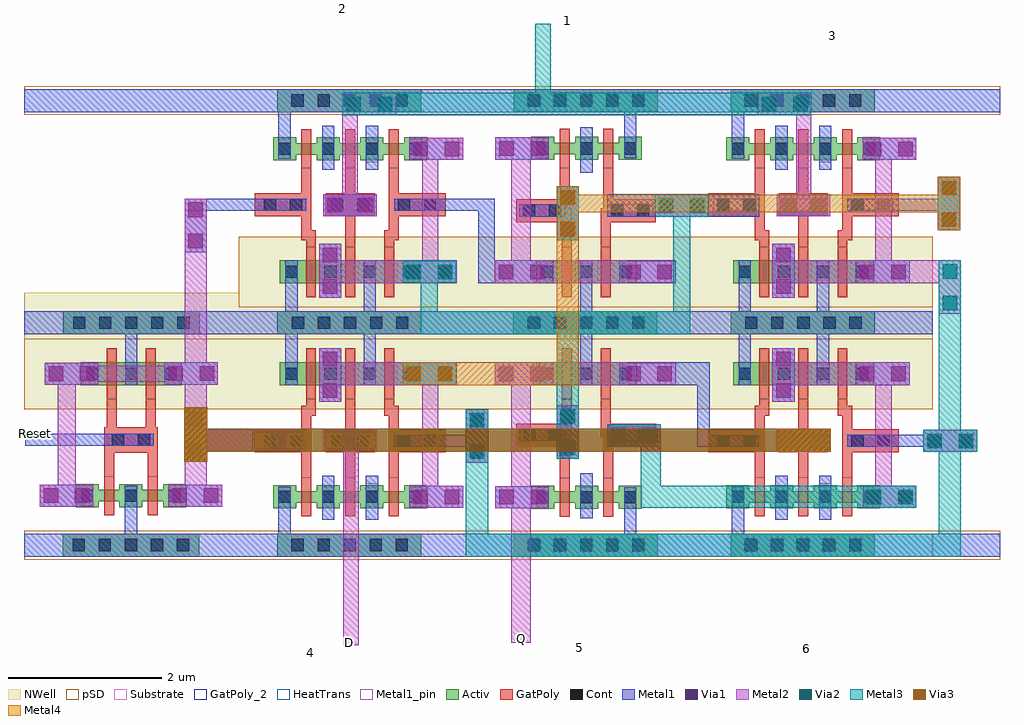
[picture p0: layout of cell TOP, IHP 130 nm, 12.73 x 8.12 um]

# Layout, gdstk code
from math import pi, radians
import gdstk
lib = gdstk.Library(unit=1e-6, precision=1e-09)
def R(c, l, rs):  # rectangles x0, y0, x1, y1
    for r in rs: c.add(gdstk.rectangle(r[:2], r[2:], *l))
def A(c, l, x, y, w, h, nx, ny, dx, dy):  # array of equal rectangles
    R(c, l, [(x+i*dx, y+j*dy, x+i*dx+w, y+j*dy+h) for i in range(nx) for j in range(ny)])
def P(c, l, *ps):  # polygons
    for p in ps: c.add(gdstk.Polygon(p, *l))
Activ = (1, 0)
GatPoly = (5, 0)
GatPoly_2 = (5, 2)
Cont = (6, 0)
Metal1 = (8, 0)
Metal1_pin = (8, 2)
Metal2 = (10, 0)
pSD = (14, 0)
Via1 = (19, 0)
Via2 = (29, 0)
Metal3 = (30, 0)
NWell = (31, 0)
Substrate = (40, 0)
Via3 = (49, 0)
Metal4 = (50, 0)
HeatTrans = (51, 0)

via_stack = lib.new_cell('via_stack')
R(via_stack, Metal1, [(-0.35,-0.145,0.35,0.145)])
R(via_stack, Metal2, [(-0.35,-0.145,0.35,0.145)])
R(via_stack, Via1, [(-0.3,-0.095,-0.11,0.095), (0.11,-0.095,0.3,0.095)])

nmos = lib.new_cell('nmos')
R(nmos, Activ, [(0,0,0.3,0.3), (0.57,0,0.87,0.3), (0,0.075,0.87,0.225)])
R(nmos, GatPoly, [(0.37,-0.105,0.5,0.405)])
R(nmos, GatPoly_2, [(0.37,-0.105,0.5,0.405)])
R(nmos, Cont, [(0.07,0.07,0.23,0.23), (0.64,0.07,0.8,0.23)])
R(nmos, Metal1, [(0.07,0.02,0.23,0.28), (0.64,0.02,0.8,0.28)])
R(nmos, Metal1_pin, [(0.07,0.02,0.23,0.28), (0.64,0.02,0.8,0.28)])
R(nmos, HeatTrans, [(0.37,-0.105,0.5,0.405)])
nmos.add(gdstk.Label('nmos', (0.435,0.15), layer=63, texttype=0))
nmos.add(gdstk.Label('nmos', (0.435,0.15), layer=51, texttype=0))

pmos = lib.new_cell('pmos')
R(pmos, Activ, [(0,0,0.3,0.3), (0,0,0.81,0.3), (0.51,0,0.81,0.3)])
R(pmos, GatPoly, [(0.34,-0.18,0.47,0.48), (0.34,-0.18,0.47,0.48)])
R(pmos, Cont, [(0.07,0.07,0.23,0.23), (0.58,0.07,0.74,0.23)])
R(pmos, Metal1, [(0.07,0,0.23,0.3), (0.07,0,0.23,0.3), (0.58,0,0.74,0.3), (0.58,0,0.74,0.3)])
R(pmos, pSD, [(-0.18,-0.3,0.99,0.6)])
R(pmos, NWell, [(-0.31,-0.31,1.12,0.61)])
R(pmos, Substrate, [(0.51,0,0.81,0.3)])
R(pmos, HeatTrans, [(0.34,-0.18,0.47,0.48)])
pmos.add(gdstk.Label('pmos', (0.405,0.15), layer=63, texttype=0))
pmos.add(gdstk.Label('pmos', (0.405,0.15), layer=51, texttype=0))

via_stack_4 = lib.new_cell('via_stack$4')
R(via_stack_4, Metal1, [(-0.35,-0.145,0.35,0.145)])
R(via_stack_4, Metal2, [(-0.35,-0.145,0.35,0.145)])
R(via_stack_4, Via1, [(-0.3,-0.095,-0.11,0.095), (0.11,-0.095,0.3,0.095)])
R(via_stack_4, Via2, [(-0.3,-0.095,-0.11,0.095), (0.11,-0.095,0.3,0.095)])
R(via_stack_4, Metal3, [(-0.35,-0.145,0.35,0.145)])
R(via_stack_4, Via3, [(-0.3,-0.095,-0.11,0.095), (0.11,-0.095,0.3,0.095)])
R(via_stack_4, Metal4, [(-0.35,-0.145,0.35,0.145)])

pmos_1 = lib.new_cell('pmos$1')
A(pmos_1, Activ, 0, 0, 0.3, 0.3, 3, 1, 0.51, 0)
R(pmos_1, Activ, [(0,0,1.32,0.3)])
R(pmos_1, GatPoly, [(0.34,-0.18,0.47,0.48), (0.34,-0.18,0.47,0.48), (0.85,-0.18,0.98,0.48)])
A(pmos_1, Cont, 0.07, 0.07, 0.16, 0.16, 3, 1, 0.51, 0)
R(pmos_1, Metal1, [(0.07,0,0.23,0.3), (0.07,0,0.23,0.3), (0.58,0,0.74,0.3), (0.58,0,0.74,0.3), (1.09,0,1.25,0.3)])
R(pmos_1, pSD, [(-0.18,-0.3,1.5,0.6)])
R(pmos_1, NWell, [(-0.31,-0.31,1.63,0.61)])
R(pmos_1, Substrate, [(1.02,0,1.32,0.3)])
R(pmos_1, HeatTrans, [(0.34,-0.18,0.47,0.48), (0.85,-0.18,0.98,0.48)])
pmos_1.add(gdstk.Label('pmos', (0.405,0.15), layer=63, texttype=0))
pmos_1.add(gdstk.Label('pmos', (0.405,0.15), layer=51, texttype=0))
pmos_1.add(gdstk.Label('pmos', (0.915,0.15), layer=51, texttype=0))

nmos_1 = lib.new_cell('nmos$1')
A(nmos_1, Activ, 0, 0, 0.3, 0.3, 3, 1, 0.57, 0)
R(nmos_1, Activ, [(0,0.075,1.44,0.225)])
R(nmos_1, GatPoly, [(0.37,-0.105,0.5,0.405), (0.94,-0.105,1.07,0.405)])
R(nmos_1, GatPoly_2, [(0.37,-0.105,0.5,0.405)])
A(nmos_1, Cont, 0.07, 0.07, 0.16, 0.16, 3, 1, 0.57, 0)
A(nmos_1, Metal1, 0.07, 0.02, 0.16, 0.26, 3, 1, 0.57, 0)
R(nmos_1, Metal1_pin, [(0.07,0.02,0.23,0.28), (0.64,0.02,0.8,0.28)])
R(nmos_1, HeatTrans, [(0.37,-0.105,0.5,0.405), (0.94,-0.105,1.07,0.405)])
nmos_1.add(gdstk.Label('nmos', (0.435,0.15), layer=63, texttype=0))
nmos_1.add(gdstk.Label('nmos', (0.435,0.15), layer=51, texttype=0))
nmos_1.add(gdstk.Label('nmos', (1.005,0.15), layer=51, texttype=0))

via_stack_2 = lib.new_cell('via_stack$2')
R(via_stack_2, Metal1, [(-0.35,-0.145,0.35,0.145)])
R(via_stack_2, Metal2, [(-0.35,-0.145,0.35,0.145)])
R(via_stack_2, Via1, [(-0.3,-0.095,-0.11,0.095), (0.11,-0.095,0.3,0.095)])
R(via_stack_2, Via2, [(-0.3,-0.095,-0.11,0.095), (0.11,-0.095,0.3,0.095)])
R(via_stack_2, Metal3, [(-0.35,-0.145,0.35,0.145)])

via_stack_5 = lib.new_cell('via_stack$5')
R(via_stack_5, Metal2, [(-0.35,-0.145,0.35,0.145)])
R(via_stack_5, Via2, [(-0.3,-0.095,-0.11,0.095), (0.11,-0.095,0.3,0.095)])
R(via_stack_5, Metal3, [(-0.35,-0.145,0.35,0.145)])
R(via_stack_5, Via3, [(-0.3,-0.095,-0.11,0.095), (0.11,-0.095,0.3,0.095)])
R(via_stack_5, Metal4, [(-0.35,-0.145,0.35,0.145)])

via_stack_1 = lib.new_cell('via_stack$1')
R(via_stack_1, Metal2, [(-0.35,-0.145,0.35,0.145)])
R(via_stack_1, Via2, [(-0.3,-0.095,-0.11,0.095), (0.11,-0.095,0.3,0.095)])
R(via_stack_1, Metal3, [(-0.35,-0.145,0.35,0.145)])

via_stack_3 = lib.new_cell('via_stack$3')

top = lib.new_cell('TOP')
R(top, Activ, [(-8.935,1.16,-7.155,1.46), (-6.135,1.16,-4.255,1.46), (-3.05,1.16,-1.17,1.46), (-0.22,1.16,1.66,1.46), (-8.93,4.06,-7.15,4.36), (-6.135,4.06,-4.255,4.36), (-6.135,4.06,-4.255,4.36), (-3.055,4.06,-1.175,4.36), (-3.055,4.06,-1.175,4.36), (-0.22,4.06,1.66,4.36), (-0.22,4.06,1.66,4.36), (-6.135,6.96,-4.255,7.26), (-3.05,6.96,-1.17,7.26), (-0.22,6.96,1.66,7.26)])
P(top, GatPoly, [(0.665,2.195),(0.665,2.52),(0.41,2.52),(0.41,2.82),(0.485,2.82),(0.665,2.82),(0.665,3.215),(0.795,3.215),(0.795,2.82),(1.05,2.82),(1.05,2.52),(0.795,2.52),(0.795,2.195)],
  [(-5.25,2.195),(-5.25,2.52),(-5.505,2.52),(-5.505,2.82),(-5.25,2.82),(-5.25,3.215),(-5.12,3.215),(-5.12,2.82),(-4.865,2.82),(-4.865,2.52),(-5.12,2.52),(-5.12,2.195)],
  [(-5.82,2.195),(-5.82,2.52),(-6.43,2.52),(-6.43,2.82),(-5.82,2.82),(-5.82,3.13),(-5.76,3.13),(-5.76,3.215),(-5.63,3.215),(-5.63,3),(-5.69,3),(-5.69,2.195)],
  [(-4.68,2.195),(-4.68,3),(-4.74,3),(-4.74,3.215),(-4.61,3.215),(-4.61,3.13),(-4.55,3.13),(-4.55,2.82),(-3.94,2.82),(-3.94,2.52),(-4.55,2.52),(-4.55,2.195)],
  [(0.095,2.195),(0.095,2.52),(-0.515,2.52),(-0.515,2.82),(0.095,2.82),(0.095,3.13),(0.155,3.13),(0.155,3.215),(0.285,3.215),(0.285,3),(0.225,3),(0.225,2.195)],
  [(1.235,2.195),(1.235,3),(1.175,3),(1.175,3.215),(1.305,3.215),(1.305,3.13),(1.365,3.13),(1.365,2.82),(1.975,2.82),(1.975,2.52),(1.365,2.52),(1.365,2.195)],
  [(-2.45,2.19),(-2.45,2.595),(-3.015,2.595),(-3.015,2.895),(-2.425,2.895),(-2.425,3.215),(-2.295,3.215),(-2.295,2.715),(-2.32,2.715),(-2.32,2.19)],
  [(-1.88,2.19),(-1.88,2.355),(-1.88,2.715),(-1.915,2.715),(-1.915,3.215),(-1.785,3.215),(-1.785,2.895),(-1.195,2.895),(-1.195,2.595),(-1.75,2.595),(-1.75,2.355),(-1.75,2.19)],
  [(-2.425,5.205),(-2.425,5.525),(-3.015,5.525),(-3.015,5.825),(-2.45,5.825),(-2.45,6.23),(-2.32,6.23),(-2.32,5.705),(-2.295,5.705),(-2.295,5.205)],
  [(-1.915,5.205),(-1.915,5.705),(-1.88,5.705),(-1.88,6.065),(-1.88,6.23),(-1.75,6.23),(-1.75,6.065),(-1.75,5.825),(-1.195,5.825),(-1.195,5.525),(-1.785,5.525),(-1.785,5.205)],
  [(-4.74,5.205),(-4.74,5.42),(-4.68,5.42),(-4.68,6.225),(-4.55,6.225),(-4.55,5.9),(-3.94,5.9),(-3.94,5.6),(-4.55,5.6),(-4.55,5.29),(-4.61,5.29),(-4.61,5.205)],
  [(-5.76,5.205),(-5.76,5.29),(-5.82,5.29),(-5.82,5.6),(-6.43,5.6),(-6.43,5.9),(-5.82,5.9),(-5.82,6.225),(-5.69,6.225),(-5.69,5.42),(-5.63,5.42),(-5.63,5.205)],
  [(-5.25,5.205),(-5.25,5.6),(-5.505,5.6),(-5.505,5.9),(-5.25,5.9),(-5.25,6.225),(-5.12,6.225),(-5.12,5.9),(-4.865,5.9),(-4.865,5.6),(-5.12,5.6),(-5.12,5.205)],
  [(1.175,5.205),(1.175,5.42),(1.235,5.42),(1.235,6.225),(1.365,6.225),(1.365,5.9),(1.975,5.9),(1.975,5.6),(1.365,5.6),(1.365,5.29),(1.305,5.29),(1.305,5.205)],
  [(0.155,5.205),(0.155,5.29),(0.095,5.29),(0.095,5.6),(-0.515,5.6),(-0.515,5.9),(0.095,5.9),(0.095,6.225),(0.225,6.225),(0.225,5.42),(0.285,5.42),(0.285,5.205)],
  [(0.665,5.205),(0.665,5.6),(0.41,5.6),(0.41,5.9),(0.665,5.9),(0.665,6.225),(0.795,6.225),(0.795,5.9),(1.05,5.9),(1.05,5.6),(0.795,5.6),(0.795,5.205)],
  [(-8.395,2.21),(-8.395,2.85),(-8.36,2.85),(-8.36,3.215),(-8.23,3.215),(-8.23,2.85),(-7.85,2.85),(-7.85,3.215),(-7.72,3.215),(-7.72,2.85),(-7.695,2.85),(-7.695,2.21),(-7.825,2.21),(-7.825,2.515),(-8.265,2.515),(-8.265,2.21)])
A(top, Cont, -5.95, 1.23, 0.16, 0.16, 5, 2, 0.34, 5.8)
A(top, Cont, -2.865, 1.23, 0.16, 0.16, 5, 2, 0.34, 5.8)
A(top, Cont, -0.035, 1.23, 0.16, 0.16, 5, 2, 0.34, 5.8)
R(top, Cont, [(-8.805,1.23,-8.645,1.39), (-8.465,1.23,-8.305,1.39), (-8.465,1.23,-8.305,1.39), (-8.125,1.23,-7.965,1.39), (-8.125,1.23,-7.965,1.39), (-7.785,1.23,-7.625,1.39), (-7.785,1.23,-7.625,1.39), (-7.445,1.23,-7.285,1.39), (-6.31,2.59,-6.15,2.75), (-5.97,2.59,-5.81,2.75), (-5.435,2.59,-5.275,2.75), (-5.095,2.59,-4.935,2.75), (-4.56,2.59,-4.4,2.75), (-4.22,2.59,-4.06,2.75), (-0.395,2.59,-0.235,2.75), (-0.055,2.59,0.105,2.75), (0.48,2.59,0.64,2.75), (0.48,2.59,0.64,2.75), (0.82,2.59,0.98,2.75), (0.82,2.59,0.98,2.75), (1.355,2.59,1.515,2.75), (1.695,2.59,1.855,2.75), (-8.295,2.605,-8.135,2.765), (-7.955,2.605,-7.795,2.765), (-2.93,2.665,-2.77,2.825), (-2.59,2.665,-2.43,2.825), (-1.78,2.665,-1.62,2.825), (-1.44,2.665,-1.28,2.825), (-8.8,4.13,-8.64,4.29), (-8.46,4.13,-8.3,4.29), (-8.46,4.13,-8.3,4.29), (-8.12,4.13,-7.96,4.29), (-8.12,4.13,-7.96,4.29), (-7.78,4.13,-7.62,4.29), (-7.78,4.13,-7.62,4.29), (-7.44,4.13,-7.28,4.29), (-5.945,4.13,-5.785,4.29), (-5.945,4.13,-5.785,4.29), (-5.605,4.13,-5.445,4.29), (-5.605,4.13,-5.445,4.29), (-5.265,4.13,-5.105,4.29), (-5.265,4.13,-5.105,4.29), (-4.925,4.13,-4.765,4.29), (-4.925,4.13,-4.765,4.29), (-4.585,4.13,-4.425,4.29), (-4.585,4.13,-4.425,4.29), (-2.865,4.13,-2.705,4.29), (-2.865,4.13,-2.705,4.29), (-2.525,4.13,-2.365,4.29), (-2.525,4.13,-2.365,4.29), (-2.185,4.13,-2.025,4.29), (-2.185,4.13,-2.025,4.29), (-1.845,4.13,-1.685,4.29), (-1.845,4.13,-1.685,4.29), (-1.505,4.13,-1.345,4.29), (-1.505,4.13,-1.345,4.29), (-0.03,4.13,0.13,4.29), (-0.03,4.13,0.13,4.29), (0.31,4.13,0.47,4.29), (0.31,4.13,0.47,4.29), (0.65,4.13,0.81,4.29), (0.65,4.13,0.81,4.29), (0.99,4.13,1.15,4.29), (0.99,4.13,1.15,4.29), (1.33,4.13,1.49,4.29), (1.33,4.13,1.49,4.29), (-2.93,5.595,-2.77,5.755), (-2.59,5.595,-2.43,5.755), (-1.78,5.595,-1.62,5.755), (-1.44,5.595,-1.28,5.755), (-6.31,5.67,-6.15,5.83), (-5.97,5.67,-5.81,5.83), (-5.435,5.67,-5.275,5.83), (-5.095,5.67,-4.935,5.83), (-4.56,5.67,-4.4,5.83), (-4.22,5.67,-4.06,5.83), (-0.395,5.67,-0.235,5.83), (-0.055,5.67,0.105,5.83), (0.48,5.67,0.64,5.83), (0.82,5.67,0.98,5.83), (1.355,5.67,1.515,5.83), (1.695,5.67,1.855,5.83)])
R(top, Metal1, [(-5.55,1.64,-5.39,2.215), (-4.98,1.64,-4.82,2.215), (0.365,1.64,0.525,2.215), (0.935,1.64,1.095,2.215), (-2.18,1.66,-2.02,2.25), (-3.29,1.79,-2.59,2.08), (-4.41,1.795,-3.71,2.085), (1.505,1.795,2.205,2.085), (-6.46,2.53,-5.76,2.82), (-6.36,2.59,-5.76,2.75), (-5.485,2.59,-4.885,2.75), (-4.61,2.59,-3.525,2.75), (0.43,2.59,1.03,2.75), (0.43,2.59,1.03,2.75), (-9.425,2.605,-7.745,2.765), (-2.98,2.665,-2.38,2.825), (-1.83,2.665,-1.23,2.825), (-5.59,3.18,-5.3,3.88), (0.325,3.18,0.615,3.88), (-4.5,3.395,-3.8,3.695), (-3.295,3.395,-2.535,3.695), (1.415,3.395,2.115,3.695), (-5.59,4.54,-5.3,5.24), (0.325,4.54,0.615,5.24), (-4.5,4.725,-3.8,5.025), (-1.675,4.725,-0.935,5.025), (-1.675,4.725,-0.935,5.025), (1.415,4.725,2.115,5.025), (-7.345,5.13,-7.055,5.83), (-2.98,5.595,-2.38,5.755), (-1.83,5.595,0.155,5.885), (-7.345,5.67,-5.76,5.83), (-5.485,5.67,-4.885,5.83), (0.43,5.67,1.03,5.83), (1.305,5.67,2.775,5.83), (-2.18,6.17,-2.02,6.76), (-5.55,6.205,-5.39,6.78), (-4.98,6.205,-4.82,6.78), (0.365,6.205,0.525,6.78), (0.935,6.205,1.095,6.78), (-4.41,6.335,-3.71,6.625)])
P(top, Metal1, [(-6.12,6.61),(-6.12,6.96),(-9.435,6.96),(-9.435,7.26),(-3.5,7.26),(-3.5,6.96),(-5.96,6.96),(-5.96,6.61)],
  [(-0.72,1.16),(-0.72,1.46),(-0.205,1.46),(-0.205,1.81),(-0.045,1.81),(-0.045,1.46),(3.295,1.46),(3.295,1.16)],
  [(-0.205,6.61),(-0.205,6.96),(-0.725,6.96),(-0.725,7.26),(3.295,7.26),(3.295,6.96),(-0.045,6.96),(-0.045,6.61)],
  [(-6.03,3.695),(-6.03,4.06),(-6.64,4.06),(-6.64,4.36),(-3.5,4.36),(-3.5,4.06),(-4.85,4.06),(-4.85,3.695),(-5.01,3.695),(-5.01,4.06),(-5.87,4.06),(-5.87,3.695)],
  [(-6.645,1.16),(-6.645,1.46),(-6.12,1.46),(-6.12,1.81),(-5.96,1.81),(-5.96,1.46),(-3.5,1.46),(-3.5,1.16)],
  [(-0.115,3.695),(-0.115,4.06),(-0.725,4.06),(-0.725,4.36),(2.415,4.36),(2.415,4.06),(1.065,4.06),(1.065,3.695),(0.905,3.695),(0.905,4.06),(0.045,4.06),(0.045,3.695)],
  [(-3.5,1.16),(-3.5,1.46),(-1.61,1.46),(-1.61,1.84),(-1.45,1.84),(-1.45,1.46),(-0.72,1.46),(-0.72,1.16)],
  [(-2.185,3.545),(-2.185,4.06),(-3.5,4.06),(-3.5,4.36),(-0.725,4.36),(-0.725,4.06),(-2.025,4.06),(-2.025,3.545)],
  [(-1.61,6.58),(-1.61,6.96),(-3.5,6.96),(-3.5,7.26),(-0.72,7.26),(-0.72,6.96),(-1.45,6.96),(-1.45,6.58)],
  [(-3.5,4.06),(-3.5,4.36),(-2.185,4.36),(-2.185,4.875),(-2.025,4.875),(-2.025,4.36),(-0.725,4.36),(-0.725,4.06)],
  [(-9.435,1.16),(-9.435,1.46),(-8.125,1.46),(-8.125,1.825),(-7.965,1.825),(-7.965,1.46),(-6.645,1.46),(-6.645,1.16)],
  [(-6.64,4.06),(-6.64,4.36),(-6.03,4.36),(-6.03,4.725),(-5.87,4.725),(-5.87,4.36),(-5.01,4.36),(-5.01,4.725),(-4.85,4.725),(-4.85,4.36),(-3.5,4.36),(-3.5,4.06)],
  [(-0.725,4.06),(-0.725,4.36),(-0.115,4.36),(-0.115,4.725),(0.045,4.725),(0.045,4.36),(0.905,4.36),(0.905,4.725),(1.065,4.725),(1.065,4.36),(2.415,4.36),(2.415,4.06)],
  [(-0.655,2.59),(-0.655,3.395),(-1.675,3.395),(-1.675,3.695),(-0.495,3.695),(-0.495,2.75),(0.155,2.75),(0.155,2.59)],
  [(2.295,2.525),(2.295,2.59),(1.305,2.59),(1.305,2.75),(2.295,2.75),(2.295,2.815),(2.995,2.815),(2.995,2.525)],
  [(-3.515,4.725),(-3.515,5.67),(-4.61,5.67),(-4.61,5.83),(-3.295,5.83),(-3.295,5.025),(-2.535,5.025),(-2.535,4.725)],
  [(-8.12,3.695),(-8.12,4.06),(-9.44,4.06),(-9.44,4.36),(-6.64,4.36),(-6.64,4.06),(-7.96,4.06),(-7.96,3.695)])
A(top, Metal1_pin, -6.36, 2.59, 0.6, 0.16, 3, 1, 0.875, 0)
A(top, Metal1_pin, -0.445, 5.67, 0.6, 0.16, 3, 1, 0.875, 0)
R(top, Metal1_pin, [(-9.435,1.16,-6.645,1.46), (-6.645,1.16,-3.5,1.46), (-3.5,1.16,-0.72,1.46), (-0.72,1.16,2.415,1.46), (-4.98,2.11,-4.82,2.215), (0.935,2.11,1.095,2.215), (-0.445,2.59,0.155,2.75), (0.43,2.59,1.03,2.75), (0.43,2.59,1.03,2.75), (1.305,2.59,1.905,2.75), (-8.345,2.605,-7.745,2.765), (-2.98,2.665,-2.38,2.825), (-1.83,2.665,-1.23,2.825), (-4.5,3.395,-3.8,3.695), (-1.635,3.395,-0.935,3.695), (1.415,3.395,2.115,3.695), (-9.44,4.06,-6.64,4.36), (-6.64,4.06,-3.5,4.36), (-6.64,4.06,-3.5,4.36), (-3.5,4.06,-0.725,4.36), (-3.5,4.06,-0.725,4.36), (-0.725,4.06,2.415,4.36), (-0.725,4.06,2.415,4.36), (-4.5,4.725,-3.8,5.025), (-1.635,4.725,-0.935,5.025), (-1.635,4.725,-0.935,5.025), (1.415,4.725,2.115,5.025), (-2.98,5.595,-2.38,5.755), (-1.83,5.595,-1.23,5.755), (-7.345,5.67,-5.76,5.83), (-5.485,5.67,-4.885,5.83), (-4.61,5.67,-4.01,5.83), (-4.98,6.205,-4.82,6.31), (0.935,6.205,1.095,6.31), (-9.435,6.96,-3.5,7.26), (-3.5,6.96,-0.72,7.26), (-0.725,6.96,3.295,7.26)])
R(top, Metal2, [(-5.275,0,-5.07,2.53), (-9,1.95,-8.765,3.545), (-8.53,3.44,-7.55,3.65), (-5.285,5.745,-5.085,7.21), (0.635,5.745,0.835,7.21)])
P(top, Metal2, [(-7.345,1.81),(-7.345,5.83),(-7.055,5.83),(-7.055,2.82),(-6.46,2.82),(-6.46,2.53),(-7.055,2.53),(-7.055,1.81)],
  [(-4.245,1.935),(-4.245,3.395),(-5.44,3.395),(-5.44,3.695),(-3.795,3.695),(-3.795,3.395),(-4.035,3.395),(-4.035,2.605),(-4.035,1.935)],
  [(1.67,1.935),(1.67,3.395),(0.475,3.395),(0.475,3.695),(2.12,3.695),(2.12,3.395),(1.88,3.395),(1.88,2.605),(1.88,1.935)],
  [(-3.085,0.035),(-3.085,1.79),(-3.29,1.79),(-3.29,2.08),(-3.085,2.08),(-3.085,3.395),(-3.29,3.395),(-3.29,3.695),(-1.57,3.695),(-1.57,3.395),(-2.83,3.395),(-2.83,2.08),(-2.59,2.08),(-2.59,1.79),(-2.83,1.79),(-2.83,0.035)],
  [(-5.44,4.725),(-5.44,5.025),(-4.245,5.025),(-4.245,6.485),(-4.035,6.485),(-4.035,5.815),(-4.035,5.025),(-3.795,5.025),(-3.795,4.725)],
  [(0.475,4.725),(0.475,5.025),(1.67,5.025),(1.67,6.625),(1.795,6.625),(2.205,6.625),(2.205,6.335),(1.88,6.335),(1.88,5.025),(2.785,5.025),(2.785,4.725)],
  [(-3.29,4.725),(-3.29,5.025),(-3.085,5.025),(-3.085,6.34),(-3.29,6.34),(-3.29,6.63),(-2.59,6.63),(-2.59,6.55),(-2.59,6.34),(-2.83,6.34),(-2.83,5.025),(-1.57,5.025),(-1.57,4.725)],
  [(0.635,2.53),(0.635,2.53),(0.835,2.53),(0.835,2.53)],
  [(0.635,2.53),(0.635,2.53),(0.835,2.53),(0.835,2.53)])
R(top, pSD, [(-9.435,1.12,-6.645,1.495), (-6.645,1.12,-3.5,1.495), (-3.5,1.12,-0.72,1.495), (-0.72,1.12,3.295,1.495), (-9.44,3.085,-6.64,4.005), (-6.64,3.085,-3.5,4.005), (-3.5,3.085,-0.725,4.005), (-0.725,3.085,2.415,4.005), (-6.64,4.415,-3.5,5.335), (-3.505,4.415,-0.725,5.335), (-0.725,4.415,2.415,5.335), (-9.435,6.925,-3.5,7.295), (-3.5,6.925,-0.72,7.295), (-0.725,6.925,3.295,7.295)])
R(top, Metal3, [(-0.97,4.06,-0.745,5.595)])
P(top, Metal3, [(-5.285,6.92),(-5.285,7.21),(-2.77,7.21),(-2.77,8.115),(-2.57,8.115),(-2.57,7.21),(0.835,7.21),(0.835,6.92)],
  [(-3.675,1.16),(-3.675,2.385),(-3.385,2.385),(-3.385,1.46),(2.495,1.46),(2.495,5.025),(2.785,5.025),(2.785,1.16)],
  [(-1.39,1.795),(-1.39,2.595),(-1.13,2.595),(-1.13,2.085),(1.505,2.085),(1.505,1.795)],
  [(-2.49,3.135),(-2.49,4.06),(-4.265,4.06),(-4.265,4.79),(-4.04,4.79),(-4.04,4.36),(-0.745,4.36),(-0.745,4.06),(-2.2,4.06),(-2.2,3.135)])
P(top, NWell, [(-6.64,3.085),(-6.64,4.6),(-3.5,4.6),(-3.5,3.085),(-3.96,3.085),(-3.96,4.005),(-6.41,4.005),(-6.41,3.085)],
  [(-0.725,3.085),(-0.725,4.6),(2.415,4.6),(2.415,3.085),(1.955,3.085),(1.955,4.005),(-0.495,4.005),(-0.495,3.085)],
  [(-3.5,3.085),(-3.5,4.6),(-0.725,4.6),(-0.725,3.085),(-1.135,3.085),(-1.135,4.005),(-3.075,4.005),(-3.075,3.085)],
  [(-3.5,3.82),(-3.5,5.335),(-3.075,5.335),(-3.075,4.415),(-1.135,4.415),(-1.135,5.335),(-0.725,5.335),(-0.725,3.82)],
  [(-6.64,3.82),(-6.64,5.335),(-6.41,5.335),(-6.41,4.415),(-3.96,4.415),(-3.96,5.335),(-3.5,5.335),(-3.5,3.82)],
  [(-0.725,3.82),(-0.725,5.335),(-0.495,5.335),(-0.495,4.415),(1.955,4.415),(1.955,5.335),(2.415,5.335),(2.415,3.82)],
  [(-9.44,3.085),(-9.44,4.6),(-6.64,4.6),(-6.64,3.085),(-7.07,3.085),(-7.07,4.005),(-9.01,4.005),(-9.01,3.085)])
P(top, Via3, [(-7.35,2.395),(-7.35,3.105),(-7.05,3.105),(-7.05,2.825),(1.085,2.825),(1.085,2.525),(-7.05,2.525),(-7.05,2.395)])
R(top, Metal4, [(-3.8,3.395,-2.2,3.695), (-2.49,3.395,-2.2,5.29), (-2.35,5.65,2.585,5.88)])
top.add(gdstk.Reference(via_stack, (-4.06,1.94)))
top.add(gdstk.Reference(nmos, (-5.05,1.79)))
top.add(gdstk.Reference(nmos, (-5.62,1.79)))
top.add(gdstk.Reference(nmos, (-6.19,1.79)))
top.add(gdstk.Reference(via_stack, (-5.185,2.675)))
top.add(gdstk.Reference(pmos, (-5.08,3.395)))
top.add(gdstk.Reference(pmos, (-6.1,3.395)))
top.add(gdstk.Reference(pmos, (-5.59,3.395)))
top.add(gdstk.Reference(via_stack, (-5.445,3.53), rotation=pi/2))
top.add(gdstk.Reference(via_stack, (-4.15,3.545)))
top.add(gdstk.Reference(via_stack, (1.855,1.94)))
top.add(gdstk.Reference(nmos, (0.865,1.79)))
top.add(gdstk.Reference(nmos, (0.295,1.79)))
top.add(gdstk.Reference(nmos, (-0.275,1.79)))
top.add(gdstk.Reference(via_stack_4, (0.73,2.675)))
top.add(gdstk.Reference(pmos, (0.835,3.395)))
top.add(gdstk.Reference(pmos, (-0.185,3.395)))
top.add(gdstk.Reference(pmos, (0.325,3.395)))
top.add(gdstk.Reference(via_stack, (0.47,3.53), rotation=pi/2))
top.add(gdstk.Reference(via_stack, (1.765,3.545)))
top.add(gdstk.Reference(pmos, (-2.765,3.395)))
top.add(gdstk.Reference(pmos, (-2.255,3.395)))
top.add(gdstk.Reference(nmos, (-2.82,1.785)))
top.add(gdstk.Reference(nmos, (-2.25,1.785)))
top.add(gdstk.Reference(via_stack, (-2.945,3.545)))
top.add(gdstk.Reference(via_stack, (-2.94,1.935)))
top.add(gdstk.Reference(via_stack, (-1.285,3.545)))
top.add(gdstk.Reference(pmos, (-2.765,5.025), x_reflection=True))
top.add(gdstk.Reference(pmos, (-2.255,5.025), x_reflection=True))
top.add(gdstk.Reference(nmos, (-2.82,6.635), x_reflection=True))
top.add(gdstk.Reference(nmos, (-2.25,6.635), x_reflection=True))
top.add(gdstk.Reference(via_stack, (-2.945,4.875), x_reflection=True))
top.add(gdstk.Reference(via_stack, (-2.94,6.485), x_reflection=True))
top.add(gdstk.Reference(via_stack, (-1.285,4.875), x_reflection=True))
top.add(gdstk.Reference(pmos_1, (-8.7,3.395)))
top.add(gdstk.Reference(via_stack, (-8.82,3.545), rotation=pi))
top.add(gdstk.Reference(via_stack, (-7.26,3.55), rotation=pi))
top.add(gdstk.Reference(nmos_1, (-8.765,1.805)))
top.add(gdstk.Reference(via_stack, (-8.885,1.955), rotation=pi))
top.add(gdstk.Reference(via_stack, (-7.205,1.955), rotation=pi))
top.add(gdstk.Reference(via_stack, (-4.15,4.875), x_reflection=True))
top.add(gdstk.Reference(via_stack, (-5.445,4.89), rotation=3*pi/2, x_reflection=True))
top.add(gdstk.Reference(pmos, (-5.59,5.025), x_reflection=True))
top.add(gdstk.Reference(pmos, (-6.1,5.025), x_reflection=True))
top.add(gdstk.Reference(pmos, (-5.08,5.025), x_reflection=True))
top.add(gdstk.Reference(via_stack, (-5.185,5.745), x_reflection=True))
top.add(gdstk.Reference(nmos, (-6.19,6.63), x_reflection=True))
top.add(gdstk.Reference(nmos, (-5.62,6.63), x_reflection=True))
top.add(gdstk.Reference(nmos, (-5.05,6.63), x_reflection=True))
top.add(gdstk.Reference(via_stack, (-4.06,6.48), x_reflection=True))
top.add(gdstk.Reference(via_stack, (1.765,4.875), x_reflection=True))
top.add(gdstk.Reference(via_stack, (0.47,4.89), rotation=3*pi/2, x_reflection=True))
top.add(gdstk.Reference(pmos, (0.325,5.025), x_reflection=True))
top.add(gdstk.Reference(pmos, (-0.185,5.025), x_reflection=True))
top.add(gdstk.Reference(pmos, (0.835,5.025), x_reflection=True))
top.add(gdstk.Reference(via_stack, (0.73,5.745), x_reflection=True))
top.add(gdstk.Reference(nmos, (-0.275,6.63), x_reflection=True))
top.add(gdstk.Reference(nmos, (0.295,6.63), x_reflection=True))
top.add(gdstk.Reference(nmos, (0.865,6.63), x_reflection=True))
top.add(gdstk.Reference(via_stack, (1.855,6.48), x_reflection=True))
top.add(gdstk.Reference(via_stack, (-6.11,2.675), rotation=pi))
top.add(gdstk.Reference(via_stack, (-7.2,5.48), rotation=3*pi/2, x_reflection=True))
top.add(gdstk.Reference(via_stack, (-1.285,4.875), x_reflection=True))
top.add(gdstk.Reference(via_stack_2, (-3.53,2.735), rotation=3*pi/2))
top.add(gdstk.Reference(via_stack_5, (-7.2,2.75), rotation=pi/2))
top.add(gdstk.Reference(via_stack_2, (-1.48,2.74), rotation=pi))
top.add(gdstk.Reference(via_stack_1, (1.855,1.94)))
top.add(gdstk.Reference(via_stack_1, (1.855,1.94)))
top.add(gdstk.Reference(via_stack_1, (1.855,1.94)))
top.add(gdstk.Reference(via_stack_1, (1.855,1.94)))
top.add(gdstk.Reference(via_stack, (2.645,2.67), rotation=pi))
top.add(gdstk.Reference(via_stack_1, (2.645,2.67), rotation=pi))
top.add(gdstk.Reference(via_stack_1, (2.645,2.67), rotation=pi))
top.add(gdstk.Reference(via_stack_2, (2.645,2.67), rotation=pi))
top.add(gdstk.Reference(via_stack_2, (-2.345,2.785), rotation=3*pi/2))
top.add(gdstk.Reference(via_stack_1, (0.485,7.065)))
top.add(gdstk.Reference(via_stack_1, (-4.15,4.875)))
top.add(gdstk.Reference(via_stack_4, (2.63,5.765), rotation=3*pi/2))
top.add(gdstk.Reference(via_stack_1, (2.64,4.675), rotation=pi/2))
top.add(gdstk.Reference(via_stack_1, (-4.935,7.065)))
top.add(gdstk.Reference(via_stack_3, (-3.335,7.545), x_reflection=True))
top.add(gdstk.Reference(via_stack_4, (-2.345,5.64), rotation=3*pi/2))
top.add(gdstk.Reference(via_stack_2, (-0.86,5.74)))
top.add(gdstk.Reference(via_stack_4, (-4.15,3.545)))
top.add(gdstk.Label('D', (-5.19,0.04), layer=10, texttype=0))
top.add(gdstk.Label('Reset', (-9.29,2.76), layer=10, texttype=0))
top.add(gdstk.Label('2', (-5.29,8.335), layer=10, texttype=0))
top.add(gdstk.Label('4', (-5.7,-0.095), layer=10, texttype=0))
top.add(gdstk.Label('1', (-2.345,8.155), layer=10, texttype=0))
top.add(gdstk.Label('5', (-2.195,-0.025), layer=10, texttype=0))
top.add(gdstk.Label('6', (0.765,-0.04), layer=10, texttype=0))
top.add(gdstk.Label('3', (1.105,7.96), layer=10, texttype=0))
top.add(gdstk.Label('Q', (-2.955,0.095), layer=10, texttype=0))
top.add(gdstk.Label('CLOCK', (-2.575,8.61), layer=30, texttype=0))

lib.write_gds('TOP.gds')
